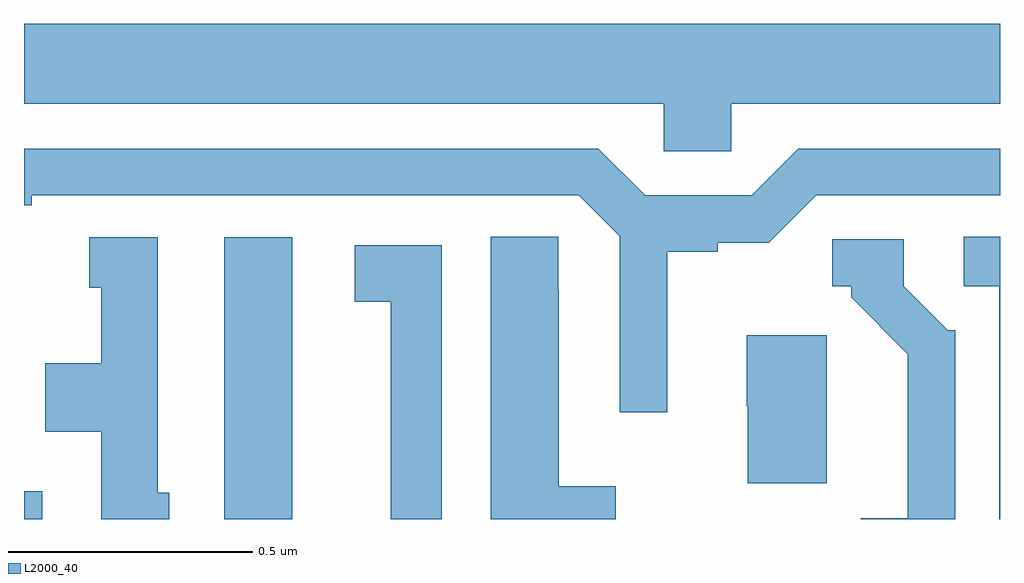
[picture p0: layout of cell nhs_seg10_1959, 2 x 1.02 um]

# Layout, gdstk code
import gdstk
lib = gdstk.Library(unit=1e-6, precision=1e-09)
def R(c, l, rs):  # rectangles x0, y0, x1, y1
    for r in rs: c.add(gdstk.rectangle(r[:2], r[2:], *l))
def P(c, l, *ps):  # polygons
    for p in ps: c.add(gdstk.Polygon(p, *l))
L2000_40 = (2000, 40)

nhs_seg10_1959 = lib.new_cell('nhs_seg10_1959')
R(nhs_seg10_1959, L2000_40, [(135,1263.5,135.037,1263.558), (135.41,1263.5,135.55,1264.078)])
P(nhs_seg10_1959, L2000_40, [(136.449,1264.352),(137,1264.352),(137,1264.516),(135,1264.516),(135,1264.352),(136.311,1264.352),(136.311,1264.254),(136.449,1264.254)],
  [(136.318,1264.048),(136.422,1264.048),(136.422,1264.067),(136.526,1264.067),(136.623,1264.164),(137,1264.164),(137,1264.26),(136.587,1264.26),(136.491,1264.164),(136.273,1264.164),(136.177,1264.26),(135,1264.26),(135,1264.144),(135.016,1264.144),(135.016,1264.164),(136.137,1264.164),(136.221,1264.08),(136.221,1263.72),(136.318,1263.72)],
  [(136.213,1263.568),(136.096,1263.568),(136.096,1263.971),(136.095,1263.971),(136.095,1264.079),(135.956,1264.079),(135.956,1263.5),(136.213,1263.5)],
  [(137,1264.079),(136.926,1264.079),(136.926,1263.978),(136.998,1263.978),(136.998,1263.5),(137,1263.5)],
  [(135.298,1263.555),(135.274,1263.555),(135.274,1264.078),(135.134,1264.078),(135.134,1263.975),(135.158,1263.975),(135.158,1263.82),(135.044,1263.82),(135.044,1263.68),(135.158,1263.68),(135.158,1263.5),(135.298,1263.5)],
  [(136.908,1263.888),(136.893,1263.888),(136.803,1263.978),(136.803,1264.074),(136.656,1264.074),(136.656,1263.978),(136.695,1263.978),(136.695,1263.955),(136.811,1263.838),(136.811,1263.502),(136.715,1263.502),(136.715,1263.5),(136.908,1263.5)],
  [(135.856,1264.062),(135.678,1264.062),(135.678,1263.946),(135.752,1263.946),(135.752,1263.5),(135.856,1263.5)],
  [(136.645,1263.877),(136.481,1263.877),(136.481,1263.732),(136.483,1263.732),(136.483,1263.574),(136.645,1263.574)])

lib.write_gds('nhs_seg10_1959.gds')
